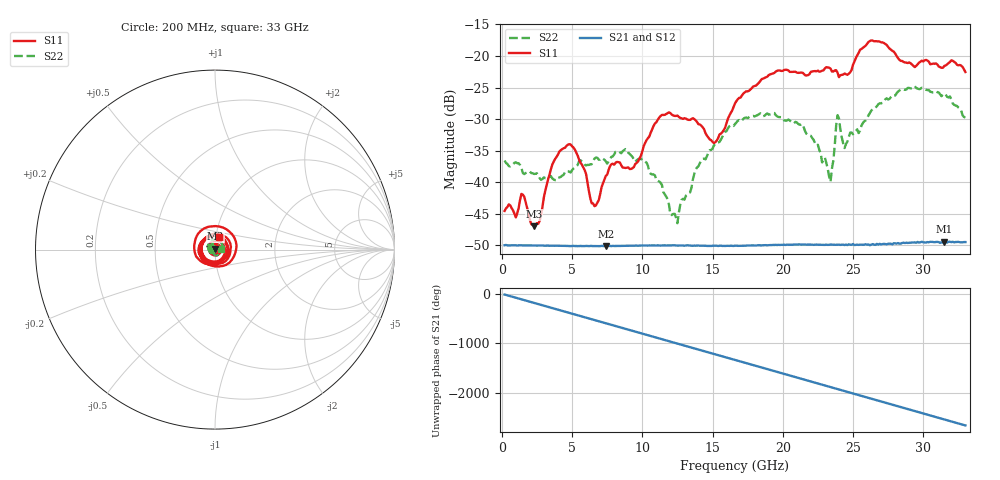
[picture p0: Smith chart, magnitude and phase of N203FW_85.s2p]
# GHZ S RI R 50
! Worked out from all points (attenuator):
!   329 points, 200 MHz to 33 GHz, reference 50 ohm
!   highest |S21| = -49.40 dB at 31.5 GHz (marker M1); lowest = -50.1 dB at 7.4 GHz (marker M2)
!   lowest |S11| = -46.9 dB at 2.3 GHz (marker M3), VSWR 1.01, Z = 50.1 + j0.43 ohm
!   |S11| at or under -10 dB: start of sweep to end of sweep
!   |S22| runs from -46.5 to -24.8 dB; largest |S21 - S12| = 8.8e-05
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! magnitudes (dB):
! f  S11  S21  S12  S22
! 200 MHz  -44.5  -50.0  -49.9  -36.6
! 1 GHz  -45.6  -50.0  -50.0  -36.8
! 1.4 GHz  -41.8  -50.0  -50.0  -37.8
! 2.3 GHz  -46.9  -50.0  -50.0  -38.7
! 4.1 GHz  -35.1  -50.0  -50.0  -39.2
! 5.7 GHz  -37.2  -50.1  -50.1  -36.7
! 6.6 GHz  -43.8  -50.1  -50.1  -36.2
! 7.4 GHz  -39.0  -50.1  -50.1  -36.7
! 9.4 GHz  -37.6  -50.0  -50.0  -36.3
! 11.2 GHz  -29.8  -50.0  -50.0  -39.9
! 12.5 GHz  -29.4  -50.0  -50.0  -46.5
! 15.1 GHz  -33.8  -50.0  -50.0  -34.2
! 16.6 GHz  -27.5  -50.0  -50.0  -30.8
! 19.4 GHz  -22.7  -49.9  -49.9  -29.0
! 22.1 GHz  -22.4  -49.9  -49.9  -33.0
! 23.4 GHz  -22.0  -49.9  -49.9  -39.9
! 23.9 GHz  -22.6  -49.9  -49.9  -29.4
! 24.4 GHz  -22.8  -49.9  -49.8  -34.6
! 26.2 GHz  -17.6  -50.0  -49.8  -29.0
! 27.6 GHz  -18.8  -49.7  -49.7  -26.8
! 31.5 GHz  -21.6  -49.4  -49.3  -26.0
! 33 GHz  -22.5  -49.5  -49.5  -29.8
